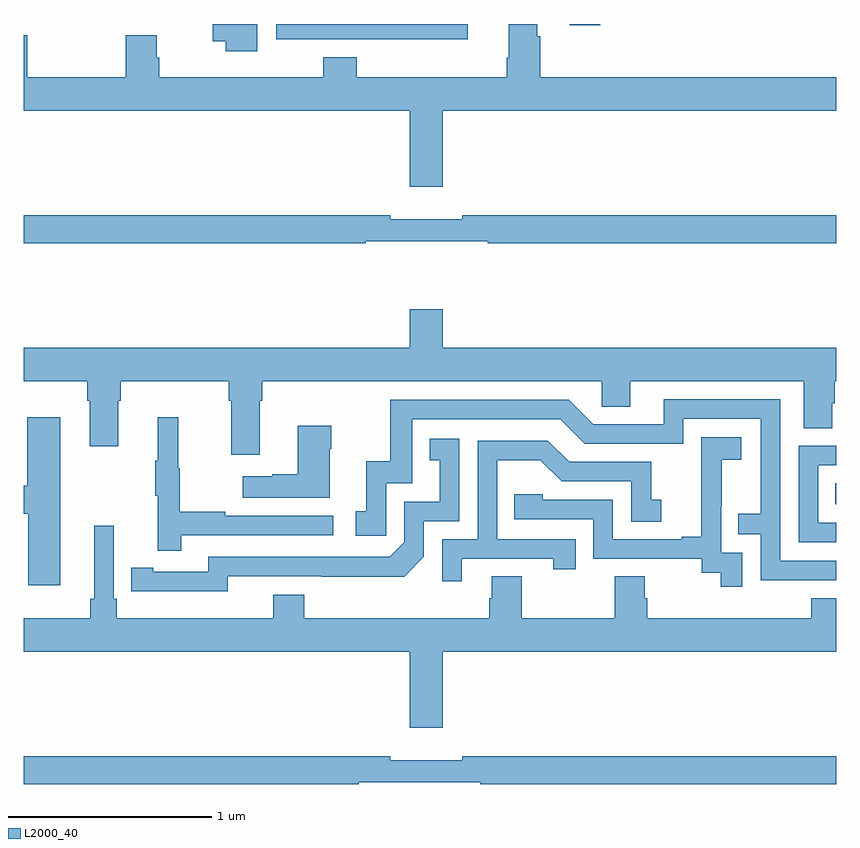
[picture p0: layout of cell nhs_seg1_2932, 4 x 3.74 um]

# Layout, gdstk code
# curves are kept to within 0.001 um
import gdstk
lib = gdstk.Library(unit=1e-6, precision=1e-09)
def R(c, l, rs):  # rectangles x0, y0, x1, y1
    for r in rs: c.add(gdstk.rectangle(r[:2], r[2:], *l))
def P(c, l, *ps):  # polygons
    for p in ps: c.add(gdstk.Polygon(p, *l))
L2000_40 = (2000, 40)

nhs_seg1_2932 = lib.new_cell('nhs_seg1_2932')
R(nhs_seg1_2932, L2000_40, [(274.996,509.834,275,509.938), (273.689,512.193,273.838,512.199)])
P(nhs_seg1_2932, L2000_40, [(272.149,512.199),(271.93,512.199),(271.93,512.115),(271.993,512.115),(271.993,512.064),(272.149,512.064)],
  [(273.185,512.199),(272.244,512.199),(272.244,512.124),(272.722,512.124),(272.722,512.123),(273.185,512.123)],
  [(273.064,511.772),(275,511.772),(275,511.936),(273.542,511.936),(273.542,512.138),(273.529,512.138),(273.529,512.199),(273.389,512.199),(273.389,512.032),(273.377,512.032),(273.377,511.936),(272.639,511.936),(272.639,512.035),(272.474,512.035),(272.474,511.936),(271.667,511.936),(271.667,512.034),(271.654,512.034),(271.654,512.144),(271.502,512.144),(271.502,511.936),(271.016,511.936),(271.016,512.144),(271,512.144),(271,511.772),(272.9,511.772),(272.9,511.398),(273.064,511.398)],
  [(272.684,511.128),(273.284,511.128),(273.284,511.12),(275,511.12),(275,511.256),(273.16,511.256),(273.16,511.237),(272.804,511.237),(272.804,511.256),(271,511.256),(271,511.12),(272.684,511.12)],
  [(272.161,510.344),(272.174,510.344),(272.174,510.44),(273.846,510.44),(273.846,510.313),(273.985,510.313),(273.985,510.44),(274.841,510.44),(274.841,510.208),(274.98,510.208),(274.98,510.331),(274.994,510.331),(274.994,510.44),(275,510.44),(275,510.604),(273.064,510.604),(273.064,510.793),(272.9,510.793),(272.9,510.604),(271,510.604),(271,510.44),(271.313,510.44),(271.313,510.344),(271.325,510.344),(271.325,510.12),(271.465,510.12),(271.465,510.344),(271.478,510.344),(271.478,510.44),(272.009,510.44),(272.009,510.344),(272.021,510.344),(272.021,510.078),(272.161,510.078)],
  [(275,509.556),(274.725,509.556),(274.725,510.351),(274.151,510.351),(274.151,510.228),(273.804,510.228),(273.684,510.348),(272.805,510.348),(272.805,510.046),(272.687,510.046),(272.687,509.799),(272.634,509.799),(272.634,509.679),(272.784,509.679),(272.784,509.937),(272.913,509.937),(272.913,510.252),(273.642,510.252),(273.762,510.132),(274.248,510.132),(274.248,510.255),(274.629,510.255),(274.629,509.786),(274.519,509.786),(274.519,509.685),(274.629,509.685),(274.629,509.46),(275,509.46)],
  [(271.775,509.682),(272.524,509.682),(272.524,509.778),(271.991,509.778),(271.991,509.798),(271.768,509.798),(271.768,510.012),(271.76,510.012),(271.76,510.262),(271.658,510.262),(271.658,510.049),(271.647,510.049),(271.647,509.875),(271.658,509.875),(271.658,509.604),(271.775,509.604)],
  [(271.18,510.262),(271.016,510.262),(271.016,509.924),(271,509.924),(271,509.788),(271.022,509.788),(271.022,509.436),(271.18,509.436)],
  [(272.506,510.107),(272.514,510.107),(272.514,510.22),(272.348,510.22),(272.348,509.981),(272.222,509.981),(272.222,509.971),(272.079,509.971),(272.079,509.867),(272.506,509.867)],
  [(274.539,509.595),(274.434,509.595),(274.434,509.825),(274.436,509.825),(274.436,510.053),(274.534,510.053),(274.534,510.163),(274.336,510.163),(274.336,509.957),(274.337,509.957),(274.337,509.674),(274.241,509.674),(274.241,509.661),(273.9,509.661),(273.9,509.856),(273.555,509.856),(273.555,509.883),(273.415,509.883),(273.415,509.76),(273.804,509.76),(273.804,509.565),(274.338,509.565),(274.338,509.497),(274.431,509.497),(274.431,509.427),(274.539,509.427)],
  [(272.004,509.478),(272.872,509.477),(272.97,509.574),(272.97,509.751),(273.144,509.751),(273.144,510.157),(272.998,510.157),(272.998,510.051),(273.047,510.051),(273.047,509.847),(272.874,509.847),(272.874,509.646),(272.802,509.574),(271.908,509.574),(271.908,509.502),(271.636,509.502),(271.636,509.522),(271.528,509.522),(271.528,509.406),(272.004,509.405)],
  [(273.157,509.565),(273.608,509.565),(273.608,509.514),(273.719,509.514),(273.719,509.661),(273.33,509.661),(273.33,510.05),(273.544,510.05),(273.648,509.946),(273.99,509.946),(273.99,509.748),(274.138,509.748),(274.138,509.857),(274.089,509.857),(274.089,510.042),(273.685,510.042),(273.58,510.147),(273.234,510.147),(273.234,509.661),(273.06,509.661),(273.06,509.454),(273.157,509.454)],
  [(275,509.742),(274.911,509.742),(274.911,510.027),(275,510.027),(275,510.123),(274.815,510.123),(274.815,509.646),(275,509.646)],
  [(273.064,509.108),(275,509.108),(275,509.371),(274.877,509.371),(274.877,509.272),(274.07,509.272),(274.07,509.37),(274.057,509.37),(274.057,509.48),(273.91,509.48),(273.91,509.272),(273.453,509.272),(273.453,509.48),(273.305,509.48),(273.305,509.37),(273.293,509.37),(273.293,509.272),(272.381,509.272),(272.381,509.389),(272.228,509.389),(272.228,509.272),(271.457,509.272),(271.457,509.368),(271.443,509.368),(271.443,509.728),(271.346,509.728),(271.346,509.368),(271.327,509.368),(271.327,509.272),(271,509.272),(271,509.108),(272.9,509.108),(272.9,508.734),(273.064,508.734)],
  [(272.648,508.464),(273.248,508.464),(273.248,508.456),(275,508.456),(275,508.592),(273.16,508.592),(273.16,508.573),(272.804,508.573),(272.804,508.592),(271,508.592),(271,508.456),(272.648,508.456)])

lib.write_gds('nhs_seg1_2932.gds')
